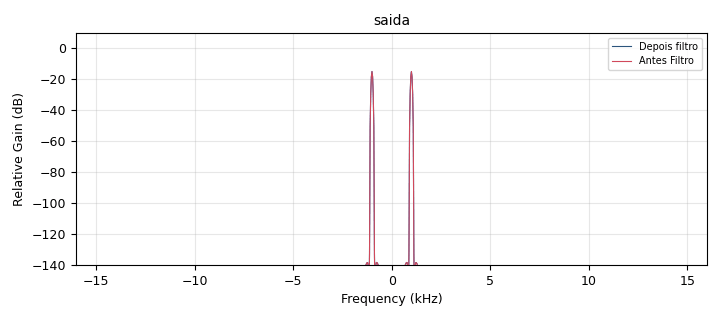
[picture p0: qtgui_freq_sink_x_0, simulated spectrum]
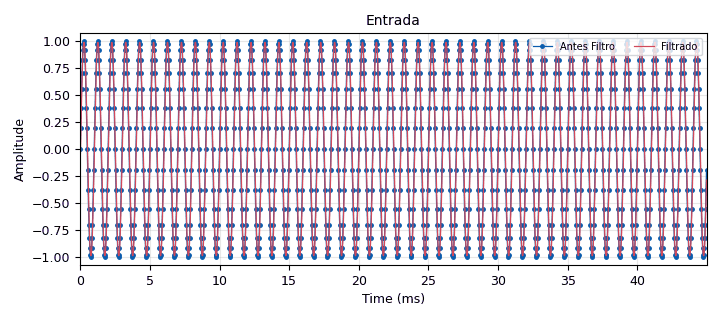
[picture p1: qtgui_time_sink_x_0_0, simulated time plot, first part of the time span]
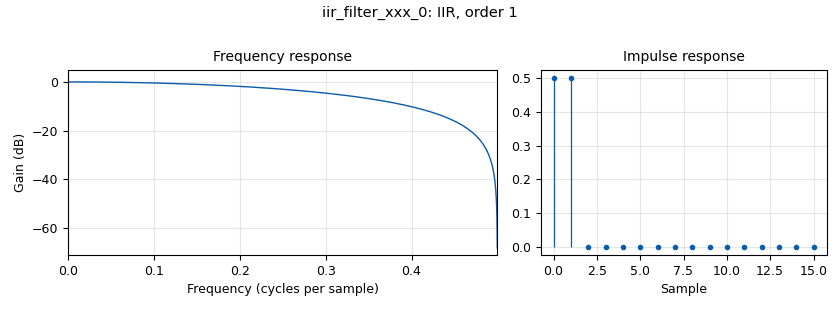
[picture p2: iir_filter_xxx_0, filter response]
<?xml version='1.0' encoding='utf-8'?>
<?grc format='1' created='3.7.13'?>
<flow_graph>
<block>
<key>options</key>
<param><key>id</key><value>top_block</value></param>
<param><key>generate_options</key><value>qt_gui</value></param>
</block>
<block>
<key>variable_qtgui_range</key>
<param><key>id</key><value>f2</value></param>
<param><key>value</key><value>1000</value></param>
<param><key>label</key><value>f2</value></param>
<param><key>orient</key><value>Qt.Horizontal</value></param>
<param><key>start</key><value>100</value></param>
<param><key>step</key><value>100</value></param>
<param><key>stop</key><value>16000</value></param>
</block>
<block>
<key>variable</key>
<param><key>id</key><value>samp_rate</value></param>
<param><key>value</key><value>32000</value></param>
</block>
<block>
<key>analog_sig_source_x</key>
<param><key>id</key><value>analog_sig_source_x_0_0</value></param>
<param><key>amp</key><value>1</value></param>
<param><key>freq</key><value>f2</value></param>
<param><key>offset</key><value>0</value></param>
<param><key>type</key><value>float</value></param>
<param><key>samp_rate</key><value>samp_rate</value></param>
<param><key>waveform</key><value>analog.GR_COS_WAVE</value></param>
</block>
<block>
<key>blocks_throttle</key>
<param><key>id</key><value>blocks_throttle_0</value></param>
<param><key>samples_per_second</key><value>samp_rate</value></param>
<param><key>type</key><value>float</value></param>
</block>
<block>
<key>iir_filter_xxx</key>
<param><key>id</key><value>iir_filter_xxx_0</value></param>
<param><key>fftaps</key><value>[0.5, 0.5]</value></param>
<param><key>fbtaps</key><value>1</value></param>
<param><key>type</key><value>ffd</value></param>
</block>
<block>
<key>qtgui_freq_sink_x</key>
<param><key>id</key><value>qtgui_freq_sink_x_0</value></param>
<param><key>bw</key><value>samp_rate</value></param>
<param><key>fc</key><value>0</value></param>
<param><key>fftsize</key><value>1024</value></param>
<param><key>grid</key><value>True</value></param>
<param><key>label1</key><value>Depois filtro</value></param>
<param><key>label2</key><value>Antes Filtro</value></param>
<param><key>name</key><value>saida</value></param>
<param><key>nconnections</key><value>2</value></param>
<param><key>showports</key><value>True</value></param>
<param><key>type</key><value>float</value></param>
<param><key>wintype</key><value>firdes.WIN_BLACKMAN_hARRIS</value></param>
</block>
<block>
<key>qtgui_time_sink_x</key>
<param><key>id</key><value>qtgui_time_sink_x_0_0</value></param>
<param><key>grid</key><value>True</value></param>
<param><key>color1</key><value>"blue"</value></param>
<param><key>label1</key><value>Antes Filtro</value></param>
<param><key>marker1</key><value>0</value></param>
<param><key>color2</key><value>"red"</value></param>
<param><key>label2</key><value>Filtrado</value></param>
<param><key>name</key><value>Entrada</value></param>
<param><key>nconnections</key><value>2</value></param>
<param><key>size</key><value>8096</value></param>
<param><key>srate</key><value>samp_rate</value></param>
<param><key>tr_mode</key><value>qtgui.TRIG_MODE_AUTO</value></param>
<param><key>type</key><value>float</value></param>
</block>
<connection><source_block_id>analog_sig_source_x_0_0</source_block_id><sink_block_id>blocks_throttle_0</sink_block_id><source_key>0</source_key><sink_key>0</sink_key></connection>
<connection><source_block_id>blocks_throttle_0</source_block_id><sink_block_id>iir_filter_xxx_0</sink_block_id><source_key>0</source_key><sink_key>0</sink_key></connection>
<connection><source_block_id>blocks_throttle_0</source_block_id><sink_block_id>qtgui_freq_sink_x_0</sink_block_id><source_key>0</source_key><sink_key>1</sink_key></connection>
<connection><source_block_id>blocks_throttle_0</source_block_id><sink_block_id>qtgui_time_sink_x_0_0</sink_block_id><source_key>0</source_key><sink_key>0</sink_key></connection>
<connection><source_block_id>iir_filter_xxx_0</source_block_id><sink_block_id>qtgui_freq_sink_x_0</sink_block_id><source_key>0</source_key><sink_key>0</sink_key></connection>
<connection><source_block_id>iir_filter_xxx_0</source_block_id><sink_block_id>qtgui_time_sink_x_0_0</sink_block_id><source_key>0</source_key><sink_key>1</sink_key></connection>
</flow_graph>
